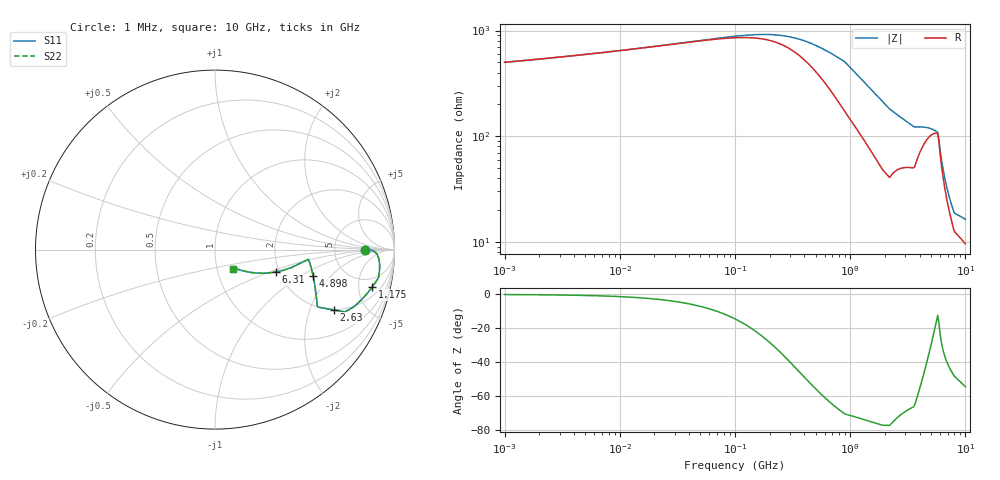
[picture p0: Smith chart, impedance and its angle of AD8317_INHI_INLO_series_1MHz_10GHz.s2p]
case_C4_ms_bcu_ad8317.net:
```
# C: ms on plane bcu
Pac:P1 n1 gnd Num="1" Z="50 Ohm" P="0 dBm" f="1e9"
SUBST:Sub1 er="4.5" h="1.44 mm" t="35 um" tand="0.02" rho="1.72e-8" D="0"
MLIN:PAD n1 a Subst="Sub1" W="0.8 mm" L="1.1 mm" Model="Hammerstad" DispModel="Kirschning" Temp="26.85"
MSTEP:S0 a a2 Subst="Sub1" W1="0.8 mm" W2="0.2032 mm" MSModel="Hammerstad" MSDispModel="Kirschning"
MLIN:L1 a2 r1a Subst="Sub1" W="0.2032 mm" L="0.65 mm" Model="Hammerstad" DispModel="Kirschning" Temp="26.85"
MSTEP:S1 r1a r1 Subst="Sub1" W1="0.2032 mm" W2="0.3 mm" MSModel="Hammerstad" MSDispModel="Kirschning"
MLIN:L2 r1 r2a Subst="Sub1" W="0.3 mm" L="1 mm" Model="Hammerstad" DispModel="Kirschning" Temp="26.85"
MSTEP:S2 r2a r2 Subst="Sub1" W1="0.3 mm" W2="0.2032 mm" MSModel="Hammerstad" MSDispModel="Kirschning"
MLIN:L3 r2 c1a Subst="Sub1" W="0.2032 mm" L="1.1 mm" Model="Hammerstad" DispModel="Kirschning" Temp="26.85"
C:C1 c1a c1m C="47 nF"
L:C1L c1m c1n L="0.25 nH"
R:C1R c1n c1b R="0.035 Ohm"
MLIN:L4 c1b inhi Subst="Sub1" W="0.1524 mm" L="1.68 mm" Model="Hammerstad" DispModel="Kirschning" Temp="26.85"
SPfile:CHIP inhi inlo gnd File="AD8317_INHI_INLO_series_1MHz_10GHz.s2p" Data="rectangular" Interpolator="linear" duringDC="open"
MLIN:L5 inlo c2b Subst="Sub1" W="0.25 mm" L="1.7 mm" Model="Hammerstad" DispModel="Kirschning" Temp="26.85"
C:C2 c2b c2m C="47 nF"
L:C2L c2m c2n L="0.25 nH"
R:C2R c2n gnd R="0.035 Ohm"
R:R1 r1 R1x R="100 Ohm" Temp="26.85"
L:R1L R1x gnd L="0.25 nH"
R:R2 r2 R2x R="100 Ohm" Temp="26.85"
L:R2L R2x gnd L="0.25 nH"
.SP:SP1 Type="log" Start="1e6" Stop="1e10" Points="401"
```
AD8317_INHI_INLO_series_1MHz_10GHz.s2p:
! AD8317 input impedance model, 1 MHz - 10 GHz (datasheet Rev.D R||C table, see ad8317_input_model.py)
! Reference impedance 50 ohm. INLO is ac-coupled RF common.
! 2-port series element Zin between port1 (INHI) and port2 (INLO). Connect to rfsim ports 2 and 3.
# HZ S RI R 50
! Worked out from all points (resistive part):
!   401 points, 1 MHz to 10 GHz, reference 50 ohm
!   read as one part in series: R = 502 ohm at 1.047 MHz
!   S11 on the Smith chart (normalised r, x): 1 MHz: 11, -0; 1.175 GHz: 3.22, -7.09; 2.63 GHz: 1.97, -2.97; 4.898 GHz: 2.99, -1.30; 6.31 GHz: 1.91, -0.55; 10 GHz: 1.19, -0.27
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1000000  0.8333 -0.000305  0.1667 0.000305  0.1667 0.000305  0.8333 -0.000305
1.023293e8  0.9009 -0.0234  0.0991 0.0234  0.0991 0.0234  0.9009 -0.0234
3.715352e8  0.9164 -0.0746  0.0836 0.0746  0.0836 0.0746  0.9164 -0.0746
1.174898e9  0.8761 -0.2082  0.1239 0.2082  0.1239 0.2082  0.8761 -0.2082
2.630268e9  0.663 -0.3363  0.337 0.3363  0.337 0.3363  0.663 -0.3363
3.630781e9  0.5705 -0.3148  0.4295 0.3148  0.4295 0.3148  0.5705 -0.3148
4.897788e9  0.5468 -0.1473  0.4532 0.1473  0.4532 0.1473  0.5468 -0.1473
5.623413e9  0.5256 -0.0676  0.4744 0.0676  0.4744 0.0676  0.5256 -0.0676
6.309573e9  0.3373 -0.1251  0.6627 0.1251  0.6627 0.1251  0.3373 -0.1251
7.943282e9  0.1279 -0.1095  0.8721 0.1095  0.8721 0.1095  0.1279 -0.1095
1e10  0.1004 -0.109  0.8996 0.109  0.8996 0.109  0.1004 -0.109
